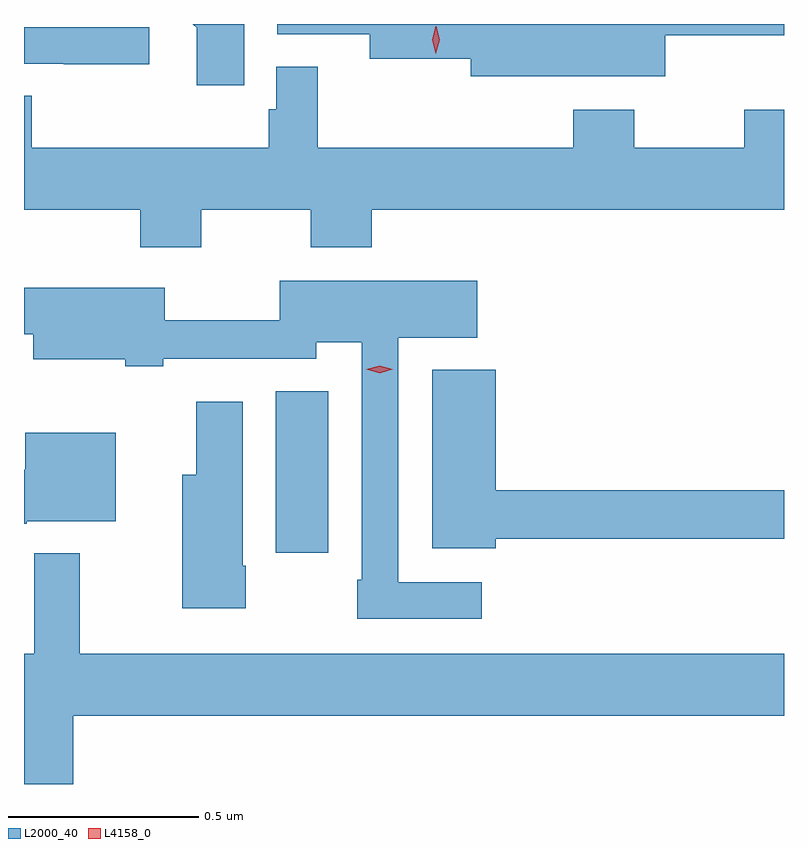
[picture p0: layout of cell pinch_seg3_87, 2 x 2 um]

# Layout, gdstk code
import gdstk
lib = gdstk.Library(unit=1e-6, precision=1e-09)
def R(c, l, rs):  # rectangles x0, y0, x1, y1
    for r in rs: c.add(gdstk.rectangle(r[:2], r[2:], *l))
def P(c, l, *ps):  # polygons
    for p in ps: c.add(gdstk.Polygon(p, *l))
L2000_40 = (2000, 40)
L4158_0 = (4158, 0)

pinch_seg3_87 = lib.new_cell('pinch_seg3_87')
R(pinch_seg3_87, L2000_40, [(1068.002,719.994,1068.139,720.419)])
P(pinch_seg3_87, L2000_40, [(1069.026,721.355),(1069.339,721.355),(1069.339,721.385),(1068.005,721.385),(1068.005,721.358),(1068.249,721.358),(1068.249,721.294),(1068.515,721.294),(1068.515,721.247),(1069.026,721.247)],
  [(1067.918,721.385),(1067.783,721.385),(1067.793,721.375),(1067.793,721.224),(1067.918,721.224)],
  [(1067.668,721.377),(1067.339,721.377),(1067.339,721.281),(1067.443,721.281),(1067.443,721.279),(1067.668,721.279)],
  [(1067.805,720.896),(1068.094,720.896),(1068.094,720.797),(1068.254,720.797),(1068.254,720.896),(1069.339,720.896),(1069.339,721.159),(1069.234,721.159),(1069.234,721.06),(1068.945,721.06),(1068.945,721.159),(1068.785,721.159),(1068.785,721.06),(1068.112,721.06),(1068.112,721.273),(1068.003,721.273),(1068.003,721.161),(1067.983,721.161),(1067.983,721.06),(1067.36,721.06),(1067.36,721.196),(1067.339,721.196),(1067.339,720.896),(1067.645,720.896),(1067.645,720.797),(1067.805,720.797)],
  [(1068.544,719.916),(1068.324,719.916),(1068.324,720.56),(1068.532,720.56),(1068.532,720.709),(1068.012,720.709),(1068.012,720.605),(1067.71,720.605),(1067.71,720.691),(1067.339,720.691),(1067.339,720.569),(1067.363,720.569),(1067.363,720.503),(1067.606,720.503),(1067.606,720.484),(1067.706,720.484),(1067.706,720.504),(1068.108,720.504),(1068.108,720.548),(1068.228,720.548),(1068.228,719.923),(1068.216,719.923),(1068.216,719.82),(1068.544,719.82)],
  [(1068.58,720.03),(1069.339,720.03),(1069.339,720.158),(1068.58,720.158),(1068.58,720.475),(1068.413,720.475),(1068.413,720.005),(1068.58,720.005)],
  [(1067.922,719.959),(1067.914,719.959),(1067.914,720.391),(1067.792,720.391),(1067.792,720.199),(1067.756,720.199),(1067.756,719.847),(1067.922,719.847)],
  [(1067.346,720.077),(1067.581,720.077),(1067.581,720.31),(1067.342,720.31),(1067.342,720.212),(1067.339,720.212),(1067.339,720.07),(1067.346,720.07)],
  [(1067.468,719.564),(1069.339,719.564),(1069.339,719.728),(1067.486,719.728),(1067.486,719.992),(1067.366,719.992),(1067.366,719.728),(1067.339,719.728),(1067.339,719.385),(1067.468,719.385)])
P(pinch_seg3_87, L4158_0, [(1068.422,721.307),(1068.422,721.307),(1068.413,721.343),(1068.423,721.379),(1068.424,721.379),(1068.424,721.379),(1068.433,721.343),(1068.422,721.307)],
  [(1068.275,720.466),(1068.24,720.476),(1068.24,720.476),(1068.24,720.476),(1068.275,720.486),(1068.31,720.476),(1068.31,720.476),(1068.31,720.476)])

lib.write_gds('pinch_seg3_87.gds')
